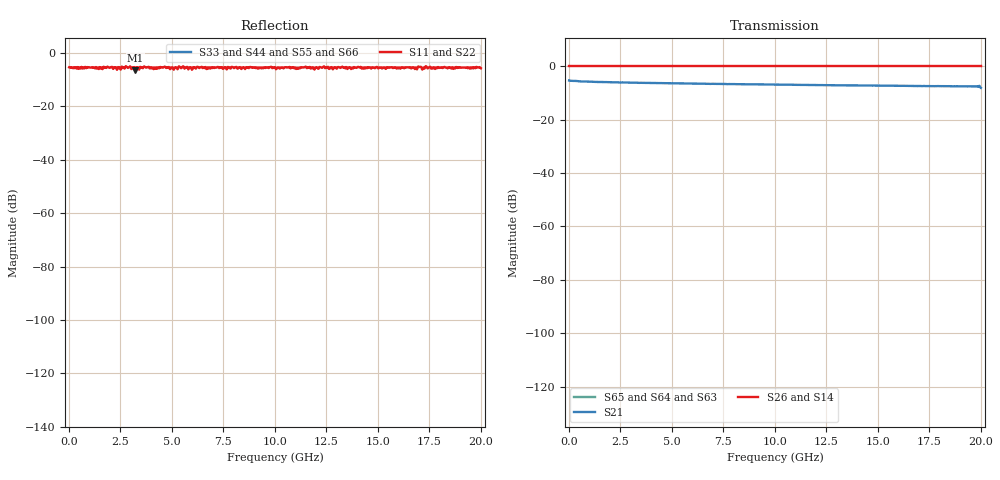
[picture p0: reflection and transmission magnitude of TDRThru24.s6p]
! File created by SignalIntegrity v1.3.3: Signal and Power Integrity Tools
! https://github.com/TeledyneLeCroy/SignalIntegrity
# MHz S MA R 50.0
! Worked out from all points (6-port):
!   1000 points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, 20 MHz to 20 GHz, reference 50 ohm
!   strongest paths, dB at 20 MHz, 5.02 GHz, 10.02 GHz, 15.02 GHz, 20 GHz:
!     S26: 0.0, 0.0, 0.0, 0.0, 0.0
!     S14: 0.0, 0.0, 0.0, 0.0, 0.0
!     S21: -5.4, -6.4, -6.9, -7.3, -8.1
!     S65: -, -, -, -, -
!     S64: -, -, -, -, -
!     S63: -, -, -, -, -
!   lowest |S11| = -6.4 dB at 3.24 GHz (marker M1), VSWR 2.84, Z = 142 + j5.4 ohm
!   |S11| at or under -10 dB: nowhere
